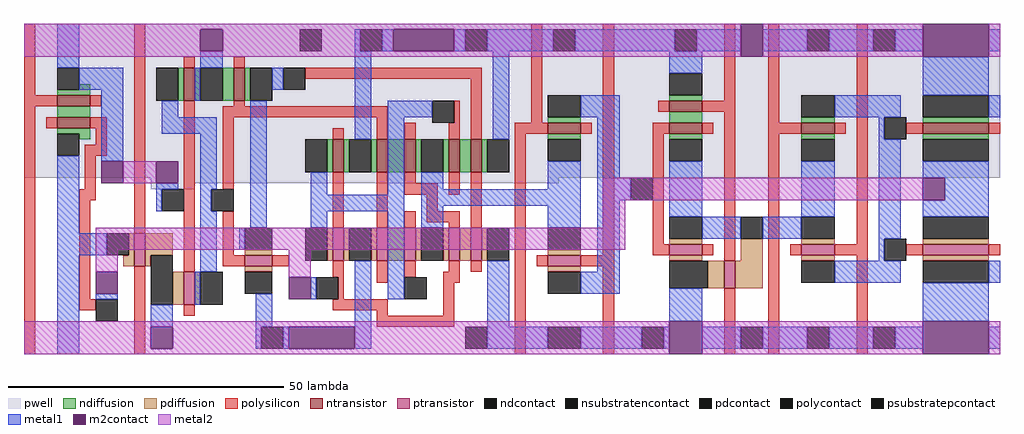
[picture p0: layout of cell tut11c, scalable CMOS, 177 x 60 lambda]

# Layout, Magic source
magic
tech scmos
<< polysilicon >>
rect -40 -13 -38 0
rect -40 -15 -34 -13
rect -28 -15 -26 -13
rect -40 -60 -38 -15
rect -36 -19 -34 -17
rect -28 -19 -25 -17
rect -27 -22 -25 -19
rect -29 -24 -25 -22
rect -29 -30 -27 -24
rect -30 -32 -27 -30
rect -30 -50 -28 -32
rect -20 -38 -18 0
rect -30 -52 -27 -50
rect -20 -60 -18 -44
<< ndiffusion >>
rect -30 -12 -28 -11
rect -34 -13 -28 -12
rect -34 -17 -28 -15
rect -34 -20 -28 -19
rect -30 -21 -28 -20
<< pdiffusion >>
rect -21 -42 -20 -38
rect -22 -44 -20 -42
rect -18 -42 -13 -38
rect -18 -44 -17 -42
<< metal1 >>
rect -34 -8 -30 0
rect -30 -12 -22 -8
rect -34 -38 -30 -24
rect -26 -25 -22 -12
rect -16 -30 -12 -29
rect -16 -34 -15 -30
rect -34 -42 -25 -38
rect -34 -60 -30 -42
rect -27 -50 -23 -49
rect -17 -55 -13 -51
<< metal2 >>
rect -40 -6 -13 0
rect -22 -29 -16 -25
rect -27 -41 -17 -37
rect -27 -45 -23 -41
rect -40 -55 -13 -54
rect -40 -59 -17 -55
rect -40 -60 -13 -59
<< pwell >>
rect -40 -28 -13 0
<< polycontact >>
rect -15 -34 -11 -30
rect -27 -54 -23 -50
<< ndcontact >>
rect -34 -12 -30 -8
rect -34 -24 -30 -20
<< pdcontact >>
rect -25 -42 -21 -38
rect -17 -51 -13 -42
<< m2contact >>
rect -26 -29 -22 -25
rect -16 -29 -12 -25
rect -27 -49 -23 -45
rect -17 -59 -13 -55
<< ntransistor >>
rect -34 -15 -28 -13
rect -34 -19 -28 -17
<< ptransistor >>
rect -20 -44 -18 -38
use tut11d tut11d_0
transform 1 0 0 0 -1 -60
box -17 -60 137 0
<< end >>

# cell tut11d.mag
magic
tech scmos
<< polysilicon >>
rect 24 -7 38 -5
rect -11 -9 -9 -7
rect 24 -8 26 -7
rect 16 -10 26 -8
rect 17 -14 18 -10
rect -11 -46 -9 -15
rect -4 -18 0 -16
rect 5 -18 8 -16
rect 16 -17 18 -14
rect 24 -17 26 -13
rect 36 -13 38 -7
rect 29 -17 31 -14
rect 36 -15 39 -13
rect 37 -17 39 -15
rect 41 -17 43 -15
rect -4 -26 -2 -18
rect -4 -43 -2 -30
rect 16 -33 18 -23
rect 24 -33 26 -23
rect 29 -26 31 -23
rect 37 -24 39 -23
rect 33 -26 39 -24
rect 33 -29 35 -26
rect 29 -31 35 -29
rect 29 -33 31 -31
rect 37 -33 39 -29
rect 41 -33 43 -23
rect 16 -41 18 -39
rect 24 -43 26 -39
rect 29 -42 31 -39
rect 37 -42 39 -39
rect -4 -45 26 -43
rect -2 -46 0 -45
rect 38 -46 39 -42
rect 41 -50 43 -39
rect 49 -40 51 0
rect 65 -16 67 0
rect 87 -12 89 0
rect 53 -18 55 -16
rect 61 -18 67 -16
rect 49 -42 55 -40
rect 61 -42 63 -40
rect 11 -52 43 -50
rect -11 -54 -9 -52
rect -2 -54 0 -52
rect 52 -60 54 -42
rect 65 -60 67 -18
rect 74 -20 77 -18
rect 83 -20 85 -18
rect 74 -40 76 -20
rect 74 -42 77 -40
rect 83 -42 85 -40
rect 87 -44 89 -17
rect 75 -46 77 -44
rect 83 -46 89 -44
rect 87 -60 89 -46
rect 95 -40 97 0
rect 111 -18 113 0
rect 99 -20 101 -18
rect 107 -20 113 -18
rect 95 -42 101 -40
rect 107 -42 109 -40
rect 95 -60 97 -42
rect 111 -60 113 -20
rect 120 -20 123 -18
rect 135 -20 137 -18
rect 120 -42 123 -40
rect 135 -42 137 -40
<< ndiffusion >>
rect 15 -39 16 -33
rect 18 -39 19 -33
rect 23 -39 24 -33
rect 26 -39 29 -33
rect 31 -39 32 -33
rect 36 -39 37 -33
rect 39 -39 41 -33
rect 43 -39 44 -33
rect -12 -52 -11 -46
rect -9 -52 -8 -46
rect -4 -52 -2 -46
rect 0 -52 1 -46
rect 55 -40 61 -39
rect 55 -43 61 -42
rect 77 -40 83 -39
rect 77 -44 83 -42
rect 77 -47 83 -46
rect 101 -40 107 -39
rect 101 -43 107 -42
rect 123 -40 135 -39
rect 123 -43 135 -42
<< pdiffusion >>
rect -13 -15 -11 -9
rect -9 -15 -8 -9
rect 0 -16 5 -15
rect 0 -19 5 -18
rect 15 -23 16 -17
rect 18 -23 19 -17
rect 23 -23 24 -17
rect 26 -23 29 -17
rect 31 -23 32 -17
rect 36 -23 37 -17
rect 39 -23 41 -17
rect 43 -23 44 -17
rect 55 -16 61 -15
rect 84 -17 87 -12
rect 89 -17 94 -12
rect 77 -18 83 -17
rect 55 -19 61 -18
rect 77 -21 83 -20
rect 90 -21 94 -17
rect 101 -18 107 -17
rect 101 -21 107 -20
rect 123 -18 135 -17
rect 123 -21 135 -20
<< metal1 >>
rect -17 -9 -13 -5
rect 2 -5 3 -1
rect 7 -5 8 -1
rect -9 -15 -8 -9
rect 2 -11 5 -5
rect 12 -14 13 -10
rect -8 -26 -5 -15
rect 20 -17 23 -1
rect 44 -5 55 -1
rect 61 -5 72 -1
rect 76 -5 77 -1
rect -1 -23 0 -19
rect -8 -30 -6 -26
rect -8 -40 -5 -30
rect -15 -43 -5 -40
rect -15 -46 -12 -43
rect 1 -46 4 -23
rect 12 -26 15 -23
rect 26 -26 29 -10
rect 44 -17 48 -5
rect 83 -5 90 -1
rect 94 -5 102 -1
rect 106 -5 114 -1
rect 118 -5 123 -1
rect 61 -15 68 -11
rect 12 -29 29 -26
rect 12 -33 15 -29
rect -9 -52 -8 -46
rect 5 -52 7 -48
rect -8 -55 -4 -52
rect 20 -55 23 -39
rect 26 -43 29 -29
rect 32 -27 36 -23
rect 55 -27 61 -23
rect 32 -30 61 -27
rect 32 -33 36 -30
rect 55 -35 61 -30
rect 64 -28 68 -15
rect 77 -12 83 -6
rect 135 -5 137 -1
rect 123 -13 135 -6
rect 107 -17 119 -13
rect 135 -17 137 -13
rect 115 -21 116 -17
rect 83 -25 90 -21
rect 94 -25 101 -21
rect 64 -32 70 -28
rect 26 -46 34 -43
rect 45 -55 48 -39
rect 64 -43 68 -32
rect 77 -35 83 -25
rect 101 -35 107 -25
rect 115 -39 119 -21
rect 123 -28 135 -25
rect 127 -32 135 -28
rect 123 -35 135 -32
rect 115 -43 116 -39
rect 61 -47 68 -43
rect 107 -47 119 -43
rect 135 -47 137 -43
rect 77 -55 83 -51
rect 123 -54 135 -47
rect 20 -59 21 -55
rect 25 -59 27 -55
rect 38 -59 40 -55
rect 44 -59 56 -55
rect 60 -59 78 -55
rect 82 -59 90 -55
rect 94 -59 102 -55
rect 106 -59 114 -55
rect 118 -59 123 -55
rect 135 -59 137 -55
<< metal2 >>
rect -17 -1 77 0
rect -13 -5 8 -1
rect 20 -5 77 -1
rect -17 -6 77 -5
rect 83 -6 123 0
rect 135 -6 137 0
rect 8 -19 12 -14
rect -17 -23 69 -19
rect 65 -28 69 -23
rect 65 -32 123 -28
rect -17 -55 90 -54
rect -17 -59 -8 -55
rect -4 -59 27 -55
rect 38 -59 90 -55
rect -17 -60 90 -59
rect 94 -60 123 -54
rect 135 -60 137 -54
<< pwell >>
rect -17 -31 -9 -30
rect -17 -32 57 -31
rect -17 -60 137 -32
<< polycontact >>
rect 13 -14 17 -10
rect 29 -14 33 -10
rect -6 -30 -2 -26
rect 34 -46 38 -42
rect 7 -52 11 -48
rect 70 -32 74 -28
rect 116 -21 120 -17
rect 116 -43 120 -39
<< ndcontact >>
rect 11 -39 15 -33
rect 19 -39 23 -33
rect 32 -39 36 -33
rect 44 -39 48 -33
rect -16 -52 -12 -46
rect -8 -52 -4 -46
rect 1 -52 5 -46
rect 55 -39 61 -35
rect 55 -47 61 -43
rect 77 -39 83 -35
rect 77 -51 83 -47
rect 101 -39 107 -35
rect 101 -47 107 -43
rect 123 -39 135 -35
rect 123 -47 135 -43
<< pdcontact >>
rect -17 -18 -13 -9
rect -8 -15 -4 -9
rect 0 -15 5 -11
rect 0 -23 5 -19
rect 11 -23 15 -17
rect 19 -23 23 -17
rect 32 -23 36 -17
rect 44 -23 48 -17
rect 55 -15 61 -11
rect 77 -17 84 -12
rect 55 -23 61 -19
rect 77 -25 83 -21
rect 90 -25 94 -21
rect 101 -17 107 -13
rect 123 -17 135 -13
rect 101 -25 107 -21
rect 123 -25 135 -21
<< m2contact >>
rect -17 -5 -13 -1
rect 8 -5 20 -1
rect 8 -14 12 -10
rect 77 -6 83 0
rect 123 -6 135 0
rect 123 -32 127 -28
rect -8 -59 -4 -55
rect 27 -59 38 -55
rect 90 -60 94 -54
rect 123 -60 135 -54
<< ntransistor >>
rect 16 -39 18 -33
rect 24 -39 26 -33
rect 29 -39 31 -33
rect 37 -39 39 -33
rect 41 -39 43 -33
rect -11 -52 -9 -46
rect -2 -52 0 -46
rect 55 -42 61 -40
rect 77 -42 83 -40
rect 77 -46 83 -44
rect 101 -42 107 -40
rect 123 -42 135 -40
<< ptransistor >>
rect -11 -15 -9 -9
rect 0 -18 5 -16
rect 16 -23 18 -17
rect 24 -23 26 -17
rect 29 -23 31 -17
rect 37 -23 39 -17
rect 41 -23 43 -17
rect 55 -18 61 -16
rect 87 -17 89 -12
rect 77 -20 83 -18
rect 101 -20 107 -18
rect 123 -20 135 -18
<< psubstratepcontact >>
rect 10 -59 14 -55
rect 21 -59 25 -55
rect 40 -59 44 -55
rect 56 -59 60 -55
rect 78 -59 82 -55
rect 102 -59 106 -55
rect 114 -59 118 -55
<< nsubstratencontact >>
rect 3 -5 7 -1
rect 40 -5 44 -1
rect 55 -5 61 -1
rect 72 -5 76 -1
rect 90 -5 94 -1
rect 102 -5 106 -1
rect 114 -5 118 -1
<< labels >>
rlabel metal1 129 -30 129 -30 1 Q_out
rlabel polysilicon 112 -53 112 -53 1 phi2_b
rlabel polysilicon 96 -52 96 -52 3 phi2
rlabel polysilicon 88 -52 88 -52 7 reset_b
rlabel polysilicon 66 -53 66 -53 1 phi1_b
rlabel polysilicon 50 -9 50 -9 1 phi1
rlabel polysilicon 66 -9 66 -9 1 phi1_b
rlabel polysilicon 88 -10 88 -10 1 reset_b
rlabel polysilicon 96 -10 96 -10 1 phi2
rlabel polysilicon 112 -10 112 -10 1 phi2_b
rlabel metal2 1 -57 1 -57 3 GND
rlabel metal2 1 -3 1 -3 3 Vdd
rlabel polysilicon 38 -41 38 -41 1 B_b
rlabel polysilicon 42 -41 42 -41 1 A
rlabel polysilicon 30 -41 30 -41 1 B
rlabel polysilicon 25 -41 25 -41 1 A_b
<< end >>
